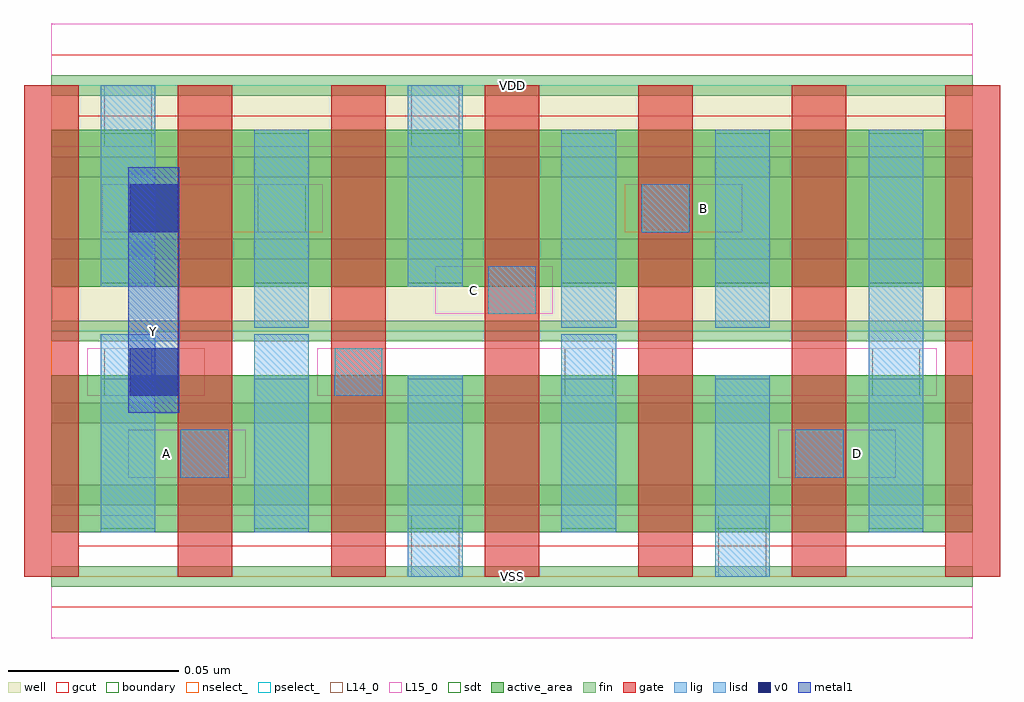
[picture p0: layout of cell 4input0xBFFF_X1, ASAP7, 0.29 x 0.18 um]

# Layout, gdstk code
import gdstk
lib = gdstk.Library(unit=1e-6, precision=2.5e-10)
def R(c, l, rs):  # rectangles x0, y0, x1, y1
    for r in rs: c.add(gdstk.rectangle(r[:2], r[2:], *l))
def A(c, l, x, y, w, h, nx, ny, dx, dy):  # array of equal rectangles
    R(c, l, [(x+i*dx, y+j*dy, x+i*dx+w, y+j*dy+h) for i in range(nx) for j in range(ny)])
def P(c, l, *ps):  # polygons
    for p in ps: c.add(gdstk.Polygon(p, *l))
well = (1, 0)
fin = (2, 0)
gate = (7, 0)
gcut = (10, 0)
active_area = (11, 0)
nselect_ = (12, 0)
pselect_ = (13, 0)
L14_0 = (14, 0)
L15_0 = (15, 0)
lig = (16, 0)
lisd = (17, 0)
v0 = (18, 0)
metal1 = (19, 0)
sdt = (88, 0)
boundary = (100, 0)

c_4input0xbfff_x1 = lib.new_cell('4input0xBFFF_X1')
R(c_4input0xbfff_x1, well, [(0,0.072,0.27,0.144)])
A(c_4input0xbfff_x1, fin, 0, -0.003, 0.27, 0.006, 1, 7, 0, 0.024)
A(c_4input0xbfff_x1, gate, -0.008, 0, 0.016, 0.144, 7, 1, 0.045, 0)
P(c_4input0xbfff_x1, gcut, [(0,-0.009),(0,0),(-0.008,0),(-0.008,0.135),(0.008,0.135),(0.008,0.009),(0.262,0.009),(0.262,0.135),(-0.008,0.135),(-0.008,0.144),(0,0.144),(0,0.153),(0.27,0.153),(0.27,0.144),(0.278,0.144),(0.278,0),(0.27,0),(0.27,-0.009)])
R(c_4input0xbfff_x1, active_area, [(0,0.013,0.27,0.059), (0,0.085,0.27,0.131)])
R(c_4input0xbfff_x1, nselect_, [(0,0,0.27,0.072)])
R(c_4input0xbfff_x1, pselect_, [(0,0.072,0.27,0.144)])
A(c_4input0xbfff_x1, L14_0, 0.0155, 0.053, 0.014, 0.014, 3, 1, 0.0675, 0)
R(c_4input0xbfff_x1, L14_0, [(0.1055,0,0.1195,0.018), (0.1955,0,0.2095,0.018), (0.038,0.029,0.052,0.043), (0.218,0.029,0.232,0.043), (0.2405,0.053,0.2545,0.067), (0.128,0.077,0.142,0.091), (0.0605,0.101,0.0745,0.115), (0.173,0.101,0.187,0.115), (0.0155,0.126,0.0295,0.144), (0.1055,0.126,0.1195,0.144)])
R(c_4input0xbfff_x1, L15_0, [(0,-0.018,0.27,0.018), (0.0225,0.029,0.057,0.043), (0.213,0.029,0.2475,0.043), (0.0105,0.053,0.045,0.067), (0.078,0.053,0.2595,0.067), (0.1125,0.077,0.147,0.091), (0.015,0.101,0.0795,0.115), (0.168,0.101,0.2025,0.115), (0,0.126,0.27,0.162)])
R(c_4input0xbfff_x1, lig, [(0.038,0.029,0.052,0.043), (0.218,0.029,0.232,0.043), (0.083,0.053,0.097,0.067), (0.128,0.077,0.142,0.091), (0.173,0.101,0.187,0.115)])
R(c_4input0xbfff_x1, lisd, [(0.1045,0,0.1205,0.059), (0.1945,0,0.2105,0.059), (0.0145,0.013,0.0305,0.071), (0.0595,0.013,0.0755,0.071), (0.1495,0.013,0.1655,0.071), (0.2395,0.013,0.2555,0.131), (0.0595,0.073,0.0755,0.131), (0.1495,0.073,0.1655,0.131), (0.1945,0.073,0.2105,0.131), (0.0145,0.085,0.0305,0.144), (0.1045,0.085,0.1205,0.144)])
R(c_4input0xbfff_x1, v0, [(0.023,0.053,0.037,0.067), (0.023,0.101,0.037,0.115)])
R(c_4input0xbfff_x1, metal1, [(0.0225,0.048,0.0375,0.12)])
A(c_4input0xbfff_x1, sdt, 0.0145, 0.014, 0.016, 0.044, 6, 2, 0.045, 0.072)
R(c_4input0xbfff_x1, boundary, [(0,0,0.27,0.144)])
c_4input0xbfff_x1.add(gdstk.Label('A', (0.0338,0.036), layer=15, texttype=251))
c_4input0xbfff_x1.add(gdstk.Label('VSS', (0.135,0), layer=15, texttype=251))
c_4input0xbfff_x1.add(gdstk.Label('VDD', (0.135,0.144), layer=15, texttype=251))
c_4input0xbfff_x1.add(gdstk.Label('VSS', (0.135,0), layer=15, texttype=251))
c_4input0xbfff_x1.add(gdstk.Label('VDD', (0.135,0.144), layer=15, texttype=251))
c_4input0xbfff_x1.add(gdstk.Label('B', (0.1913,0.108), layer=15, texttype=251))
c_4input0xbfff_x1.add(gdstk.Label('VSS', (0.135,0), layer=15, texttype=251))
c_4input0xbfff_x1.add(gdstk.Label('VDD', (0.135,0.144), layer=15, texttype=251))
c_4input0xbfff_x1.add(gdstk.Label('C', (0.1237,0.084), layer=15, texttype=251))
c_4input0xbfff_x1.add(gdstk.Label('VSS', (0.135,0), layer=15, texttype=251))
c_4input0xbfff_x1.add(gdstk.Label('VDD', (0.135,0.144), layer=15, texttype=251))
c_4input0xbfff_x1.add(gdstk.Label('D', (0.2363,0.036), layer=15, texttype=251))
c_4input0xbfff_x1.add(gdstk.Label('VSS', (0.135,0), layer=15, texttype=251))
c_4input0xbfff_x1.add(gdstk.Label('VDD', (0.135,0.144), layer=15, texttype=251))
c_4input0xbfff_x1.add(gdstk.Label('VSS', (0.135,0), layer=3, texttype=251))
c_4input0xbfff_x1.add(gdstk.Label('VSS', (0.135,0), layer=3, texttype=251))
c_4input0xbfff_x1.add(gdstk.Label('VSS', (0.135,0), layer=3, texttype=251))
c_4input0xbfff_x1.add(gdstk.Label('VSS', (0.135,0), layer=3, texttype=251))
c_4input0xbfff_x1.add(gdstk.Label('VSS', (0.135,0), layer=3, texttype=251))
c_4input0xbfff_x1.add(gdstk.Label('VDD', (0.135,0.144), layer=1, texttype=251))
c_4input0xbfff_x1.add(gdstk.Label('VDD', (0.135,0.144), layer=1, texttype=251))
c_4input0xbfff_x1.add(gdstk.Label('VDD', (0.135,0.144), layer=1, texttype=251))
c_4input0xbfff_x1.add(gdstk.Label('VDD', (0.135,0.144), layer=1, texttype=251))
c_4input0xbfff_x1.add(gdstk.Label('VDD', (0.135,0.144), layer=1, texttype=251))
c_4input0xbfff_x1.add(gdstk.Label('Y', (0.03,0.072), layer=19, texttype=251))

lib.write_gds('4input0xBFFF_X1.gds')
